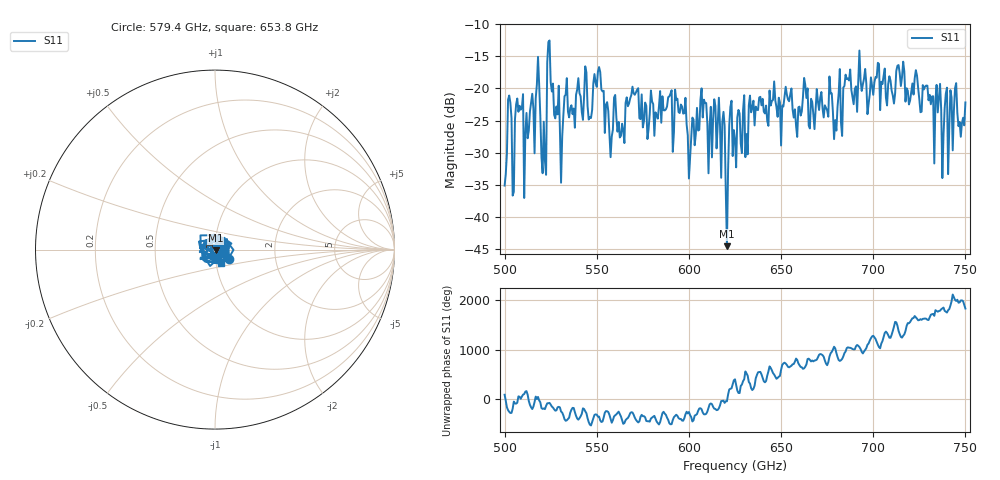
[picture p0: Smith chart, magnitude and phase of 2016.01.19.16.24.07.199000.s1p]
!Created with skrf (http://scikit-rf.org).
# GHz S RI R 50.0
!freq ReS11 ImS11
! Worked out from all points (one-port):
!   401 points, 500 GHz to 750 GHz, reference 50 ohm
!   lowest |S11| = -44.5 dB at 620.6 GHz (marker M1), VSWR 1.01, Z = 50.4 - j0.418 ohm
!   |S11| at or under -10 dB: start of sweep to end of sweep
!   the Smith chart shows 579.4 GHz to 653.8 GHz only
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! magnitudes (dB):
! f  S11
! 500 GHz  -35.1
! 502.5 GHz  -21.1
! 505 GHz  -36.1
! 508.8 GHz  -23.3
! 511.9 GHz  -23.8
! 518.1 GHz  -15.1
! 521.2 GHz  -25.2
! 524.4 GHz  -12.6
! 531.2 GHz  -27.5
! 533.1 GHz  -21.0
! 546.2 GHz  -24.4
! 550.6 GHz  -17.4
! 562.5 GHz  -27.6
! 570.6 GHz  -21.0
! 593.8 GHz  -21.6
! 600 GHz  -34.0
! 607.5 GHz  -24.5
! 611.2 GHz  -25.6
! 615 GHz  -29.3
! 620.6 GHz  -44.5
! 623.1 GHz  -21.9
! 625 GHz  -27.9
! 633.8 GHz  -23.7
! 656.2 GHz  -23.3
! 679.4 GHz  -24.9
! 687.5 GHz  -17.1
! 718.8 GHz  -20.4
! 750 GHz  -22.2
